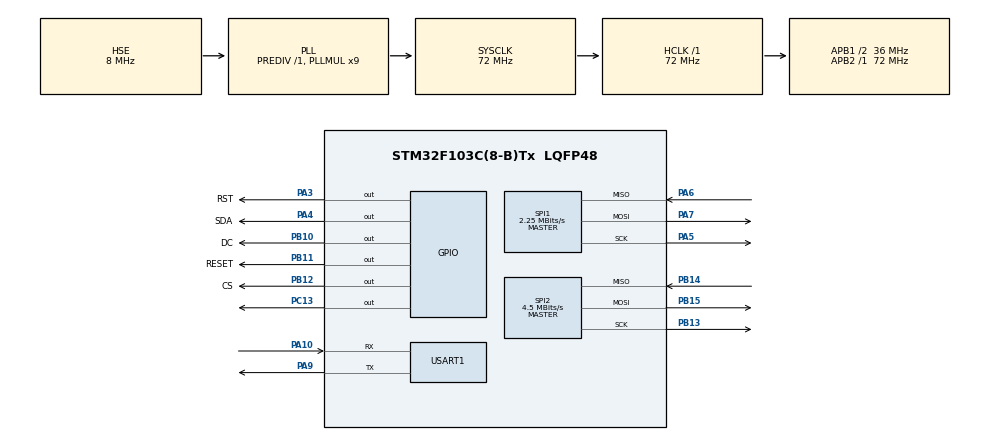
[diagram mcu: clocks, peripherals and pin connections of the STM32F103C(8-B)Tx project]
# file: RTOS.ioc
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FREERTOS.Tasks01=defaultTask,0,128,StartDefaultTask,Default,NULL,Dynamic,NULL,NULL
Mcu.Family=STM32F1
Mcu.Name=STM32F103C(8-B)Tx
Mcu.Package=LQFP48
NVIC.PriorityGroup=NVIC_PRIORITYGROUP_4
NVIC.SPI1_IRQn=true\:5\:0\:false\:false\:true\:true\:true\:true\:true
NVIC.SPI2_IRQn=true\:5\:0\:false\:false\:true\:true\:true\:true\:true
NVIC.TIM4_IRQn=true\:15\:0\:false\:false\:true\:false\:false\:true\:true
NVIC.TimeBase=TIM4_IRQn
NVIC.TimeBaseIP=TIM4
PA10.Mode=Asynchronous
PA10.Signal=USART1_RX
PA13.Mode=Serial_Wire
PA13.Signal=SYS_JTMS-SWDIO
PA14.Mode=Serial_Wire
PA14.Signal=SYS_JTCK-SWCLK
PA3.GPIO_Label=RST
PA3.GPIO_PuPd=GPIO_PULLUP
PA3.Signal=GPIO_Output
PA4.GPIO_Label=SDA
PA4.Signal=GPIO_Output
PA5.Mode=Full_Duplex_Master
PA5.Signal=SPI1_SCK
PA6.Mode=Full_Duplex_Master
PA6.Signal=SPI1_MISO
PA7.Mode=Full_Duplex_Master
PA7.Signal=SPI1_MOSI
PA9.Mode=Asynchronous
PA9.Signal=USART1_TX
PB10.GPIO_Label=DC
PB10.Signal=GPIO_Output
PB11.GPIO_Label=RESET
PB11.Signal=GPIO_Output
PB12.GPIO_Label=CS
PB12.Signal=GPIO_Output
PB13.Mode=Full_Duplex_Master
PB13.Signal=SPI2_SCK
PB14.Mode=Full_Duplex_Master
PB14.Signal=SPI2_MISO
PB15.Mode=Full_Duplex_Master
PB15.Signal=SPI2_MOSI
PC13-TAMPER-RTC.Signal=GPIO_Output
PD0-OSC_IN.Mode=HSE-External-Oscillator
PD0-OSC_IN.Signal=RCC_OSC_IN
PD1-OSC_OUT.Mode=HSE-External-Oscillator
PD1-OSC_OUT.Signal=RCC_OSC_OUT
ProjectManager.HeapSize=0x200
ProjectManager.StackSize=0x400
ProjectManager.TargetToolchain=STM32CubeIDE
RCC.AHBFreq_Value=72000000
RCC.APB1CLKDivider=RCC_HCLK_DIV2
RCC.APB1Freq_Value=36000000
RCC.APB1TimFreq_Value=72000000
RCC.APB2Freq_Value=72000000
RCC.APB2TimFreq_Value=72000000
RCC.HCLKFreq_Value=72000000
RCC.PLLMUL=RCC_PLL_MUL9
RCC.PLLSourceVirtual=RCC_PLLSOURCE_HSE
RCC.SYSCLKFreq_VALUE=72000000
RCC.SYSCLKSource=RCC_SYSCLKSOURCE_PLLCLK
RCC.USBFreq_Value=72000000
SPI1.BaudRatePrescaler=SPI_BAUDRATEPRESCALER_32
SPI1.CalculateBaudRate=2.25 MBits/s
SPI1.Direction=SPI_DIRECTION_2LINES
SPI1.Mode=SPI_MODE_MASTER
SPI1.VirtualType=VM_MASTER
SPI2.BaudRatePrescaler=SPI_BAUDRATEPRESCALER_8
SPI2.CalculateBaudRate=4.5 MBits/s
SPI2.Direction=SPI_DIRECTION_2LINES
SPI2.Mode=SPI_MODE_MASTER
SPI2.VirtualType=VM_MASTER
USART1.VirtualMode=VM_ASYNC
VP_FREERTOS_VS_CMSIS_V1.Mode=CMSIS_V1
VP_SYS_VS_tim4.Mode=TIM4
board=custom

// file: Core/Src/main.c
/* USER CODE BEGIN Header */
/**
 ******************************************************************************
 * @file           : main.c
 * @brief          : Main program body
 ******************************************************************************
 * @attention
 *
 * Copyright (c) 2026 STMicroelectronics.
 * All rights reserved.
 *
 * This software is licensed under terms that can be found in the LICENSE file
 * in the root directory of this software component.
 * If no LICENSE file comes with this software, it is provided AS-IS.
 *
 ******************************************************************************
 */
/* USER CODE END Header */
#include "main.h"
#include "cmsis_os.h"

/* USER CODE BEGIN Includes */
#include "rc522.h"
#include "tft_ili9341.h"
#include "font.h"
#include "stdio.h"
#include "string.h"
/* USER CODE END Includes */

/* USER CODE BEGIN PTD */
typedef enum {
	MODE_NORMAL = 0, MODE_ADD, MODE_DELETE
} Mode_t;

Mode_t mode = MODE_NORMAL;

typedef enum {
	MENU_NORMAL = 0, MENU_ADD, MENU_DELETE
} Menu_t;

Menu_t menu = MENU_NORMAL;
/* USER CODE END PTD */

SPI_HandleTypeDef hspi1;
SPI_HandleTypeDef hspi2;

UART_HandleTypeDef huart1;

osThreadId defaultTaskHandle;
/* USER CODE BEGIN PV */
uint8_t uid[5];
uint8_t status;

#define MAX_CARDS 10
uint8_t card_list[MAX_CARDS][4];
uint8_t card_count = 0;

char buffer[50], buf[50];
uint8_t rx_data[20];

osThreadId rfidTaskHandle;
osThreadId uartTaskHandle;

void RFID_Task(void const *argument);
void UART_Task(void const *argument);
/* USER CODE END PV */

void SystemClock_Config(void);
static void MX_GPIO_Init(void);
static void MX_SPI1_Init(void);
static void MX_SPI2_Init(void);
static void MX_USART1_UART_Init(void);
void StartDefaultTask(void const *argument);

/* USER CODE BEGIN PFP */
void TFT_DrawMenu(void) {
	TFT_FillScreen(BLACK);

	TFT_DrawString(10, 10, "RFID DOOR LOCK", &Font_11x16_times, GREEN, BLACK);

	if (menu == MENU_NORMAL)
		TFT_DrawString(10, 40, "> NORMAL", &Font_11x16_times, GREEN, BLACK);
	else
		TFT_DrawString(10, 40, "  NORMAL", &Font_11x16_times, WHITE, BLACK);

	if (menu == MENU_ADD)
		TFT_DrawString(10, 70, "> ADD CARD", &Font_11x16_times, GREEN, BLACK);
	else
		TFT_DrawString(10, 70, "  ADD CARD", &Font_11x16_times, WHITE, BLACK);

	if (menu == MENU_DELETE)
		TFT_DrawString(10, 100, "> DELETE CARD", &Font_11x16_times, GREEN,
		BLACK);
	else
		TFT_DrawString(10, 100, "  DELETE CARD", &Font_11x16_times, WHITE,
		BLACK);

	char buf[30];
	sprintf(buf, "Cards: %d", card_count);
	TFT_DrawString(10, 140, buf, &Font_11x16_times, YELLOW, BLACK);
}
/* USER CODE END PFP */

/* USER CODE BEGIN 0 */

uint8_t compare_uid(uint8_t *a, uint8_t *b) {
	for (int i = 0; i < 4; i++) {
		if (a[i] != b[i])
			return 0;
	}
	return 1;
}

int find_card(uint8_t *uid) {
	for (int i = 0; i < card_count; i++) {
		if (compare_uid(uid, card_list[i])) {
			return i;
		}
	}
	return -1;
}

void add_card(uint8_t *uid) {
	if (card_count >= MAX_CARDS)
		return;

	if (find_card(uid) == -1) {
		memcpy(card_list[card_count], uid, 4);
		card_count++;
	}
}

void delete_card(uint8_t *uid) {
	int index = find_card(uid);

	if (index == -1)
		return;

	for (int i = index; i < card_count - 1; i++) {
		memcpy(card_list[i], card_list[i + 1], 4);
	}

	card_count--;
}

/* USER CODE END 0 */

int main(void) {

	/* MCU Configuration--------------------------------------------------------*/

	/* Reset of all peripherals, Initializes the Flash interface and the Systick. */
	HAL_Init();

	/* Configure the system clock */
	SystemClock_Config();

	/* Initialize all configured peripherals */
	MX_GPIO_Init();
	MX_SPI1_Init();
	MX_SPI2_Init();
	MX_USART1_UART_Init();
	/* USER CODE BEGIN 2 */
	RC522_Init();
	HAL_Delay(100);
	TFT_Init(&hspi2);

	TFT_FillScreen(BLACK);

	TFT_DrawMenu();
	/* USER CODE END 2 */

	/* Create the thread(s) */
	/* definition and creation of defaultTask */
	osThreadDef(defaultTask, StartDefaultTask, osPriorityNormal, 0, 128);
	defaultTaskHandle = osThreadCreate(osThread(defaultTask), NULL);

	/* USER CODE BEGIN RTOS_THREADS */
	/* add threads, ... */
	osThreadDef(rfidTask, RFID_Task, osPriorityNormal, 0, 256);
	rfidTaskHandle = osThreadCreate(osThread(rfidTask), NULL);

	osThreadDef(uartTask, UART_Task, osPriorityLow, 0, 256);
	uartTaskHandle = osThreadCreate(osThread(uartTask), NULL);
	/* USER CODE END RTOS_THREADS */

	/* Start scheduler */
	osKernelStart();

	/* We should never get here as control is now taken by the scheduler */

	/* Infinite loop */
	while (1) {

	}
}

void SystemClock_Config(void) {
	RCC_OscInitTypeDef RCC_OscInitStruct = { 0 };
	RCC_ClkInitTypeDef RCC_ClkInitStruct = { 0 };

	/** Initializes the RCC Oscillators according to the specified parameters
	 * in the RCC_OscInitTypeDef structure.
	 */
	RCC_OscInitStruct.OscillatorType = RCC_OSCILLATORTYPE_HSE;
	RCC_OscInitStruct.HSEState = RCC_HSE_ON;
	RCC_OscInitStruct.HSEPredivValue = RCC_HSE_PREDIV_DIV1;
	RCC_OscInitStruct.HSIState = RCC_HSI_ON;
	RCC_OscInitStruct.PLL.PLLState = RCC_PLL_ON;
	RCC_OscInitStruct.PLL.PLLSource = RCC_PLLSOURCE_HSE;
	RCC_OscInitStruct.PLL.PLLMUL = RCC_PLL_MUL9;
	if (HAL_RCC_OscConfig(&RCC_OscInitStruct) != HAL_OK) {
		Error_Handler();
	}

	/** Initializes the CPU, AHB and APB buses clocks
	 */
	RCC_ClkInitStruct.ClockType = RCC_CLOCKTYPE_HCLK | RCC_CLOCKTYPE_SYSCLK
			| RCC_CLOCKTYPE_PCLK1 | RCC_CLOCKTYPE_PCLK2;
	RCC_ClkInitStruct.SYSCLKSource = RCC_SYSCLKSOURCE_PLLCLK;
	RCC_ClkInitStruct.AHBCLKDivider = RCC_SYSCLK_DIV1;
	RCC_ClkInitStruct.APB1CLKDivider = RCC_HCLK_DIV2;
	RCC_ClkInitStruct.APB2CLKDivider = RCC_HCLK_DIV1;

	if (HAL_RCC_ClockConfig(&RCC_ClkInitStruct, FLASH_LATENCY_2) != HAL_OK) {
		Error_Handler();
	}
}

static void MX_SPI1_Init(void) {

	/* SPI1 parameter configuration*/
	hspi1.Instance = SPI1;
	hspi1.Init.Mode = SPI_MODE_MASTER;
	hspi1.Init.Direction = SPI_DIRECTION_2LINES;
	hspi1.Init.DataSize = SPI_DATASIZE_8BIT;
	hspi1.Init.CLKPolarity = SPI_POLARITY_LOW;
	hspi1.Init.CLKPhase = SPI_PHASE_1EDGE;
	hspi1.Init.NSS = SPI_NSS_SOFT;
	hspi1.Init.BaudRatePrescaler = SPI_BAUDRATEPRESCALER_32;
	hspi1.Init.FirstBit = SPI_FIRSTBIT_MSB;
	hspi1.Init.TIMode = SPI_TIMODE_DISABLE;
	hspi1.Init.CRCCalculation = SPI_CRCCALCULATION_DISABLE;
	hspi1.Init.CRCPolynomial = 10;
	if (HAL_SPI_Init(&hspi1) != HAL_OK) {
		Error_Handler();
	}

}

static void MX_SPI2_Init(void) {

	/* SPI2 parameter configuration*/
	hspi2.Instance = SPI2;
	hspi2.Init.Mode = SPI_MODE_MASTER;
	hspi2.Init.Direction = SPI_DIRECTION_2LINES;
	hspi2.Init.DataSize = SPI_DATASIZE_8BIT;
	hspi2.Init.CLKPolarity = SPI_POLARITY_LOW;
	hspi2.Init.CLKPhase = SPI_PHASE_1EDGE;
	hspi2.Init.NSS = SPI_NSS_SOFT;
	hspi2.Init.BaudRatePrescaler = SPI_BAUDRATEPRESCALER_8;
	hspi2.Init.FirstBit = SPI_FIRSTBIT_MSB;
	hspi2.Init.TIMode = SPI_TIMODE_DISABLE;
	hspi2.Init.CRCCalculation = SPI_CRCCALCULATION_DISABLE;
	hspi2.Init.CRCPolynomial = 10;
	if (HAL_SPI_Init(&hspi2) != HAL_OK) {
		Error_Handler();
	}

}

static void MX_USART1_UART_Init(void) {

	huart1.Instance = USART1;
	huart1.Init.BaudRate = 115200;
	huart1.Init.WordLength = UART_WORDLENGTH_8B;
	huart1.Init.StopBits = UART_STOPBITS_1;
	huart1.Init.Parity = UART_PARITY_NONE;
	huart1.Init.Mode = UART_MODE_TX_RX;
	huart1.Init.HwFlowCtl = UART_HWCONTROL_NONE;
	huart1.Init.OverSampling = UART_OVERSAMPLING_16;
	if (HAL_UART_Init(&huart1) != HAL_OK) {
		Error_Handler();
	}

}

static void MX_GPIO_Init(void) {
	GPIO_InitTypeDef GPIO_InitStruct = { 0 };

	/* GPIO Ports Clock Enable */
	__HAL_RCC_GPIOC_CLK_ENABLE();
	__HAL_RCC_GPIOD_CLK_ENABLE();
	__HAL_RCC_GPIOA_CLK_ENABLE();
	__HAL_RCC_GPIOB_CLK_ENABLE();

	/*Configure GPIO pin Output Level */
	HAL_GPIO_WritePin(GPIOC, GPIO_PIN_13, GPIO_PIN_RESET);

	/*Configure GPIO pin Output Level */
	HAL_GPIO_WritePin(GPIOA, RST_Pin | SDA_Pin, GPIO_PIN_RESET);

	/*Configure GPIO pin Output Level */
	HAL_GPIO_WritePin(GPIOB, DC_Pin | RESET_Pin | CS_Pin, GPIO_PIN_RESET);

	/*Configure GPIO pin : PC13 */
	GPIO_InitStruct.Pin = GPIO_PIN_13;
	GPIO_InitStruct.Mode = GPIO_MODE_OUTPUT_PP;
	GPIO_InitStruct.Pull = GPIO_NOPULL;
	GPIO_InitStruct.Speed = GPIO_SPEED_FREQ_LOW;
	HAL_GPIO_Init(GPIOC, &GPIO_InitStruct);

	/*Configure GPIO pin : RST_Pin */
	GPIO_InitStruct.Pin = RST_Pin;
	GPIO_InitStruct.Mode = GPIO_MODE_OUTPUT_PP;
	GPIO_InitStruct.Pull = GPIO_PULLUP;
	GPIO_InitStruct.Speed = GPIO_SPEED_FREQ_LOW;
	HAL_GPIO_Init(RST_GPIO_Port, &GPIO_InitStruct);

	/*Configure GPIO pin : SDA_Pin */
	GPIO_InitStruct.Pin = SDA_Pin;
	GPIO_InitStruct.Mode = GPIO_MODE_OUTPUT_PP;
	GPIO_InitStruct.Pull = GPIO_NOPULL;
	GPIO_InitStruct.Speed = GPIO_SPEED_FREQ_LOW;
	HAL_GPIO_Init(SDA_GPIO_Port, &GPIO_InitStruct);

	/*Configure GPIO pins : DC_Pin RESET_Pin CS_Pin */
	GPIO_InitStruct.Pin = DC_Pin | RESET_Pin | CS_Pin;
	GPIO_InitStruct.Mode = GPIO_MODE_OUTPUT_PP;
	GPIO_InitStruct.Pull = GPIO_NOPULL;
	GPIO_InitStruct.Speed = GPIO_SPEED_FREQ_LOW;
	HAL_GPIO_Init(GPIOB, &GPIO_InitStruct);

}

/* USER CODE BEGIN 4 */
void UART_Task(void const *argument) {
	while (1) {
		memset(rx_data, 0, sizeof(rx_data));
		HAL_UART_Receive(&huart1, rx_data, sizeof(rx_data), 100);

		if (strstr((char*) rx_data, "1")) {
			menu = MENU_NORMAL;
			mode = MODE_NORMAL;
			TFT_DrawMenu();
		} else if (strstr((char*) rx_data, "2")) {
			menu = MENU_ADD;
			mode = MODE_ADD;
			TFT_DrawMenu();
		} else if (strstr((char*) rx_data, "3")) {
			menu = MENU_DELETE;
			mode = MODE_DELETE;
			TFT_DrawMenu();
		}

		osDelay(100);
	}
}
void RFID_Task(void const *argument) {
	for (;;) {
		if (RC522_Check(uid) == MI_OK) {
			int index = find_card(uid);

			// clear vùng info
			TFT_DrawRect(0, 170, 240, 60, BLACK);

			if (mode == MODE_ADD) {
				if (index == -1) {
					add_card(uid);
					TFT_DrawString(10, 170, "ADDED", &Font_11x16_times, GREEN,
							BLACK);
				} else {
					TFT_DrawString(10, 170, "EXISTED", &Font_11x16_times,
							YELLOW, BLACK);
				}
			} else if (mode == MODE_DELETE) {
				if (index != -1) {
					delete_card(uid);
					TFT_DrawString(10, 170, "DELETED", &Font_11x16_times, RED,
							BLACK);
				} else {
					TFT_DrawString(10, 170, "NOT FOUND", &Font_11x16_times,
							YELLOW, BLACK);
				}
			} else {
				if (index != -1) {
					TFT_DrawString(10, 170, "ACCESS OK", &Font_11x16_times,
							GREEN, BLACK);

					HAL_GPIO_WritePin(GPIOC, GPIO_PIN_13, GPIO_PIN_RESET);
					osDelay(2000);
					HAL_GPIO_WritePin(GPIOC, GPIO_PIN_13, GPIO_PIN_SET);
				} else {
					TFT_DrawString(10, 170, "ACCESS DENIED", &Font_11x16_times,
							RED, BLACK);
				}
			}

			sprintf(buf, "UID: %02X %02X %02X %02X", uid[0], uid[1], uid[2],
					uid[3]);

			TFT_DrawString(10, 200, buf, &Font_11x16_times, WHITE, BLACK);

			TFT_DrawMenu(); // update lại số thẻ

			osDelay(1500);
		}

		osDelay(100);
	}
}
/* USER CODE END 4 */

void StartDefaultTask(void const *argument) {
	for (;;) {
		osDelay(1);
	}
}

void HAL_TIM_PeriodElapsedCallback(TIM_HandleTypeDef *htim) {
	if (htim->Instance == TIM4) {
		HAL_IncTick();
	}
}

void Error_Handler(void) {
	__disable_irq();
	while (1) {
	}
}
